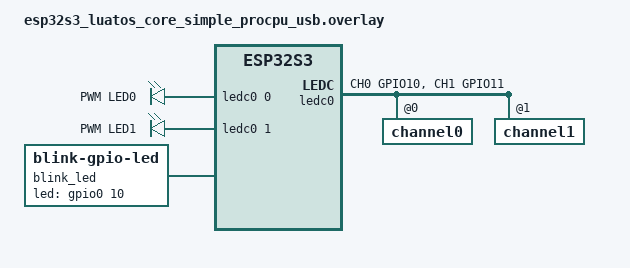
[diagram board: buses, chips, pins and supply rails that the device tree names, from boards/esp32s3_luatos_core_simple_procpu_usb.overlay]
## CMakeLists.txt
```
#-------------------------------------------------------------------------------
# Zephyr Example Application
#
# Copyright (c) 2021 Nordic Semiconductor ASA
# SPDX-License-Identifier: Apache-2.0

cmake_minimum_required(VERSION 3.13.1)
find_package(Zephyr REQUIRED HINTS $ENV{ZEPHYR_BASE})

project(app LANGUAGES C)

#target_sources(app PRIVATE src/main.c)
#target_sources(app PRIVATE src/main_thread.c)
#target_sources(app PRIVATE src/main_pwm_led.c)
target_sources(app PRIVATE src/main_pwm_led_fade.c)
```

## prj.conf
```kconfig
# Copyright (c) 2021 Nordic Semiconductor ASA
# SPDX-License-Identifier: Apache-2.0
#
# This file contains selected Kconfig options for the application.

CONFIG_SENSOR=y
CONFIG_BLINK=y
CONFIG_PRINTK=y
CONFIG_GPIO=y
CONFIG_PWM=y
```

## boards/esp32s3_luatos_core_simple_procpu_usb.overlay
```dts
/*
 * SPDX-License-Identifier: Apache-2.0
 */

#include <zephyr/dt-bindings/pwm/pwm.h>

/ {
	aliases {
		pwm-0 = &ledc0;
		pwm-led0 = &pwm_led_blue0;
		pwm-led1 = &pwm_led_blue1;
	};

	pwmleds {
		compatible = "pwm-leds";
		pwm_led_blue0: pwm_led_gpio0_10 {
			label = "PWM LED0";
			pwms = <&ledc0 0 1000 PWM_POLARITY_NORMAL>;
		};

		pwm_led_blue1: pwm_led_gpio0_11 {
			label = "PWM LED1";
			pwms = <&ledc0 1 1000 PWM_POLARITY_NORMAL>;
		};
	};

	blink_led: blink-led {
		compatible = "blink-gpio-led";
		led-gpios = <&gpio0 10 GPIO_ACTIVE_HIGH>;
		blink-period-ms = <1000>;
	};
};

&pinctrl {
	ledc0_default: ledc0_default {
		group1 {
			pinmux = <LEDC_CH0_GPIO10 LEDC_CH1_GPIO11>;
			output-enable;
		};
	};
};

&ledc0 {
	pinctrl-0 = <&ledc0_default>;
	pinctrl-names = "default";
	status = "okay";
	#address-cells = <1>;
	#size-cells = <0>;
	channel0@0 {
		reg = <0x0>;
		timer = <0>;
	};
	channel1@1 {
		reg = <0x1>;
		timer = <0>;
	};
};
```

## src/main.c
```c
/*
 * SPDX-License-Identifier: Apache-2.0
 */
#include <zephyr/drivers/sensor.h>
#include <zephyr/kernel.h>
#include <zephyr/logging/log.h>

#include <app/drivers/blink.h>

#include <app_version.h>

LOG_MODULE_REGISTER(main, CONFIG_APP_LOG_LEVEL);
#define BLINK_PERIOD_MS_STEP 100U
#define BLINK_PERIOD_MS_MAX 1000U

int main(void) {
    int ret;
    unsigned int period_ms = BLINK_PERIOD_MS_MAX;
    const struct device *sensor, *blink;
    struct sensor_value last_val = {0}, val;

    printk("Zephyr Example Application %s\n", APP_VERSION_STRING);

    // sensor = DEVICE_DT_GET(DT_NODELABEL(example_sensor));
    // if (!device_is_ready(sensor)) {
    // 	LOG_ERR("Sensor not ready");
    // 	return 0;
    // }

    blink = DEVICE_DT_GET(DT_NODELABEL(blink_led));
    if (!device_is_ready(blink)) {
        LOG_ERR("Blink LED not ready");
        return 0;
    }

    ret = blink_set_period_ms(blink, period_ms);
    if (ret < 0) {
        LOG_ERR("Could not turn off LED (%d)", ret);
        return 0;
    }

    printk("Use the sensor to change LED blinking period\n");

    while (1) {
        // ret = sensor_sample_fetch(sensor);
        // if (ret < 0) {
        // 	LOG_ERR("Could not fetch sample (%d)", ret);
        // 	return 0;
        // }

        // ret = sensor_channel_get(sensor, SENSOR_CHAN_PROX, &val);
        // if (ret < 0) {
        // 	LOG_ERR("Could not get sample (%d)", ret);
        // 	return 0;
        // }

        if ((last_val.val1 == 0) && (val.val1 == 1)) {
            if (period_ms == 0U) {
                period_ms = BLINK_PERIOD_MS_MAX;
            } else {
                period_ms -= BLINK_PERIOD_MS_STEP;
            }

            printk("Proximity detected, setting LED period to %u ms\n", period_ms);
            blink_set_period_ms(blink, period_ms);
        }

        last_val = val;

        k_sleep(K_MSEC(100));
    }

    return 0;
}
```

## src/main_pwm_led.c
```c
//
// Created by pkj on 2025/10/15.
//

#include <zephyr/kernel.h>
#include <zephyr/sys/printk.h>
#include <zephyr/device.h>
#include <zephyr/drivers/pwm.h>

static const struct pwm_dt_spec pwm_led0 = PWM_DT_SPEC_GET(DT_ALIAS(pwm_led0));

#define MIN_PERIDO PWM_SEC(1U) / 128U
#define MAX_PERIDO PWM_SEC(1U)

int main(void)
{
    uint32_t max_period, period;
    bool dir = 0U;
    int ret;

    printk("PWM-base blinky\n");
    if (!pwm_is_ready_dt(&pwm_led0))
    {
        printk("Error: PWM led:%s not ready\n", pwm_led0.dev->name);
        return -1;
    }

    max_period = MAX_PERIDO;
    while (pwm_set_dt(&pwm_led0, max_period, max_period / 2U))
    {
        max_period /= 2;
        if (max_period < 4U * MIN_PERIDO)
        {
            printk("Error: PWM device does not support a period at least %lu\n", 4U * MIN_PERIDO);
            return -1;
        }
    }
    printk(" Calibrate done: max period=%d\n", max_period);
    period = max_period;
    while (true)
    {
        ret = pwm_set_dt(&pwm_led0, period, period / 2U);
        if (ret < 0)
        {
            printk("Error: PWM led:%s failed (%d)\n", pwm_led0.dev->name, ret);
            return -1;
        }
        printk("PWM led:%s done\n", pwm_led0.dev->name);
        period = dir ? (period / 2U) : (period * 2U);
        if (period > max_period)
        {
            period = max_period;
            dir = 1;
        }
        else if (period < MIN_PERIDO)
        {
            period = MIN_PERIDO;
            dir = 0;
        }
        k_sleep(K_SECONDS(3U));
    }
    return 0;
}
```

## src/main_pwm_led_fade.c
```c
//
// Created by pkj on 2025/10/15.
//

#include <zephyr/kernel.h>
#include <zephyr/sys/printk.h>
#include <zephyr/device.h>
#include <zephyr/drivers/pwm.h>

#define PWM_LED_ALIAS(i) DT_ALIAS(__CONCAT(pwm_led,i))
#define PWM_LED_IS_OKAY(i) DT_NODE_HAS_STATUS_OKAY(DT_PARENT(PWM_LED_ALIAS(i)))
#define PWM_LED(i,_) IF_ENABLED(PWM_LED_IS_OKAY(i), (PWM_DT_SPEC_GET(PWM_LED_ALIAS(i)),))

#define MAX_LEDS 10
static const struct pwm_dt_spec pwm_leds[] = {LISTIFY(MAX_LEDS, PWM_LED, ())};

#define NUM_STEPS  50U
#define SLEEP_MSEC 25U

int main(void)
{
    uint32_t pulse_width[ARRAY_SIZE(pwm_leds)];
    uint32_t steps[ARRAY_SIZE(pwm_leds)];
    uint32_t dirs[ARRAY_SIZE(pwm_leds)];
    int ret;

    printk("Found %d leds\n", ARRAY_SIZE(pwm_leds));
    for (size_t i = 0; i < ARRAY_SIZE(pwm_leds); i++)
    {
        pulse_width[i] = 0;
        steps[i] = pwm_leds[i].period / NUM_STEPS;
        dirs[i] = 1U;
        if (!pwm_is_ready_dt(&pwm_leds[i]))
        {
            printk("Error: PWM device %s is not read\n", pwm_leds[i].dev->name);
            return -1;
        }
    }
    while (true)
    {
        for (size_t i = 0; i < ARRAY_SIZE(pwm_leds); i++)
        {
            ret = pwm_set_pulse_dt(&pwm_leds[i], pulse_width[i]);
            if (ret)
            {
                printk("Error: PWM device %s failed to set pulse width\n", pwm_leds[i].dev->name);
            }
            printk("LED %d: Using pulse width %d%%\n", i, 100 * pulse_width[i] / pwm_leds[i].period);
            if (dirs[i] == 1)
            {
                if (pulse_width[i] + steps[i] >= pwm_leds[i].period)
                {
                    dirs[i] = 0U;
                }
                else
                {
                    pulse_width[i] += steps[i];
                }
            }
            else
            {
                if (pulse_width[i] - steps[i] <= 0)
                {
                    dirs[i] = 1U;
                }
                else
                {
                    pulse_width[i] -= steps[i];
                }
            }
        }
        k_sleep(K_MSEC(SLEEP_MSEC));
    }
    return 0;
}
```

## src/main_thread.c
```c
//
// Created by pkj on 2025/10/15.
//

#include <zephyr/kernel.h>
#include <zephyr/device.h>
#include <zephyr/drivers/gpio.h>
#include <zephyr/sys/printk.h>
#include <zephyr/sys/__assert.h>
#include <string.h>

#define STACK_SIZE 1024
#define PRIORITY 7

#define LED0_NODE DT_ALIAS(led0)
#define LED1_NODE DT_ALIAS(led1)


#if !DT_NODE_HAS_STATUS_OKAY(LED0_NODE)
#error "led0 not support"
#endif

#if !DT_NODE_HAS_STATUS_OKAY(LED1_NODE)
#error "led1 not support"
#endif

struct printk_data_t
{
    void* fifo_reserved;
    uint32_t led;
    uint32_t cnt;
};

K_FIFO_DEFINE(printk_fifo);

struct led
{
    struct gpio_dt_spec spec;
    uint8_t num;
};

static const struct led led0 = {
    .spec = GPIO_DT_SPEC_GET_OR(LED0_NODE, gpios, {0}),
    .num = 0
};

static const struct led led1 = {
    .spec = GPIO_DT_SPEC_GET_OR(LED1_NODE, gpios, {0}),
    .num = 1
};

void blink(const struct led* led, uint32_t sleep_ms, uint32_t id)
{
    const struct gpio_dt_spec* spec = &led->spec;
    int cnt = 0;
    int ret;
    if (!device_is_ready(spec->port))
    {
        printk("%s: device is not ready\n", __FUNCTION__);
        return;
    }
    ret = gpio_pin_configure_dt(spec,GPIO_OUTPUT);
    if (ret < 0)
    {
        printk("%s: gpio_pin_configure_dt failed\n", __FUNCTION__);
        return;
    }

    while (1)
    {
        gpio_pin_set_dt(spec, cnt % 2);
        struct printk_data_t tx_data = {. led = id, .cnt = cnt};
        size_t size = sizeof(struct printk_data_t);
        char*mem_ptr = k_malloc(size);
        __ASSERT_NO_MSG(mem_ptr != NULL);
        memcpy(mem_ptr, &tx_data, sizeof(struct printk_data_t));
        k_fifo_put(&printk_fifo, mem_ptr);
        k_msleep(sleep_ms);
        cnt++;
    }
}

void blink0(void)
{
    blink(&led0, 1000, 0);
}

void blink1(void)
{
    blink(&led1, 100, 1);
}

void uart_out(void)
{
    while (1)
    {
        struct printk_data_t * rx_data = k_fifo_get(&printk_fifo,K_FOREVER);
        printk("Toggled led%d, counter=%d\n",rx_data->led,rx_data->cnt);
        k_free(rx_data);
    }
}


K_THREAD_DEFINE(blink0_id,STACK_SIZE,blink0,NULL,NULL,NULL,PRIORITY,0,0);
K_THREAD_DEFINE(blink1_id,STACK_SIZE,blink1,NULL,NULL,NULL,PRIORITY,0,0);
K_THREAD_DEFINE(blink2_id,STACK_SIZE,uart_out,NULL,NULL,NULL,PRIORITY,0,0);
```
